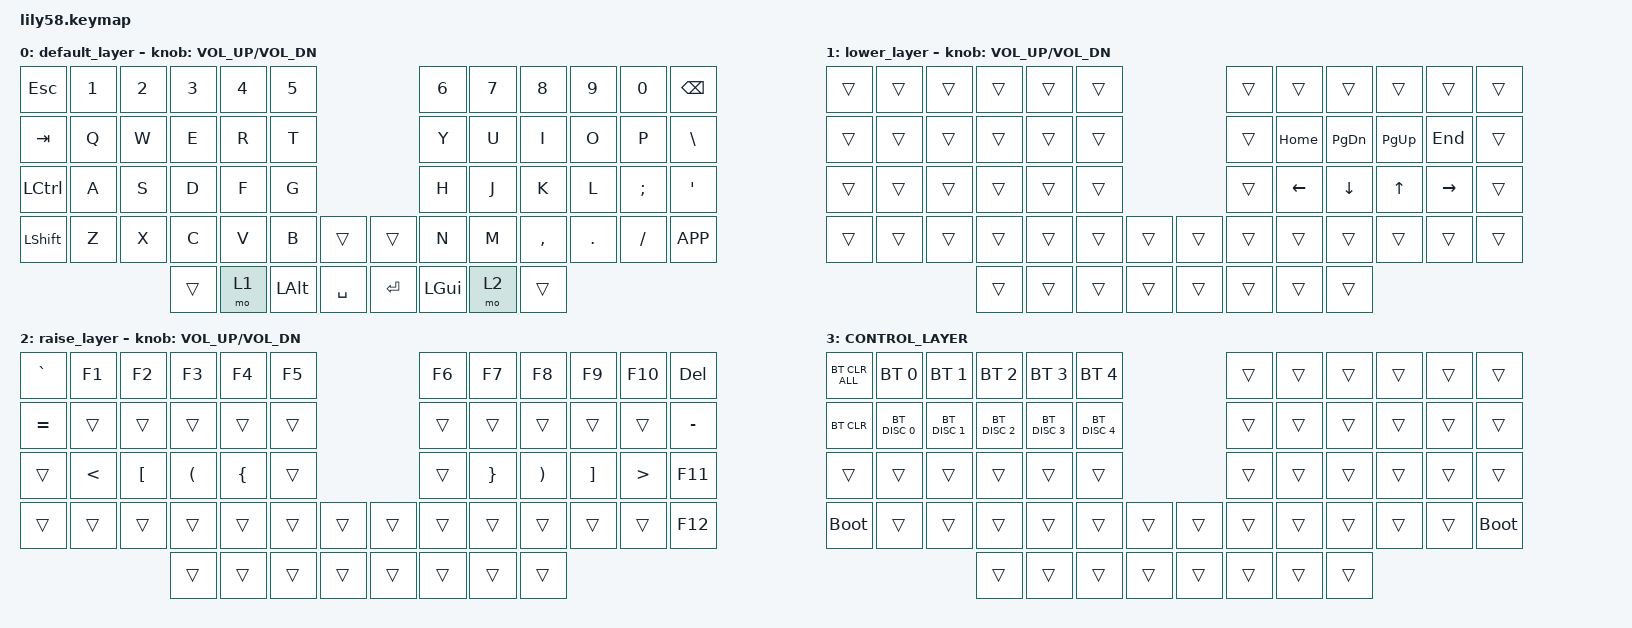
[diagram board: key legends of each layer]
/*
 * Copyright (c) 2020 The ZMK Contributors
 *
 * SPDX-License-Identifier: MIT
 */

#include <behaviors.dtsi>
#include <dt-bindings/zmk/bt.h>
#include <dt-bindings/zmk/keys.h>

/ {
    combos {
        compatible = "zmk,combos";

        GOTO_CONTROL_LAYER {
            bindings = <&mo 3>;
            key-positions = <51 56>;
            layers = <0>;
        };
    };

    keymap {
        compatible = "zmk,keymap";

        default_layer {
            bindings = <
&kp ESC    &kp N1  &kp N2  &kp N3  &kp N4  &kp N5                          &kp N6    &kp N7  &kp N8     &kp N9   &kp N0    &kp BSPC
&kp TAB    &kp Q   &kp W   &kp E   &kp R   &kp T                           &kp Y     &kp U   &kp I      &kp O    &kp P     &kp BACKSLASH
&kp LCTRL  &kp A   &kp S   &kp D   &kp F   &kp G                           &kp H     &kp J   &kp K      &kp L    &kp SEMI  &kp SQT
&kp LSHFT  &kp Z   &kp X   &kp C   &kp V   &kp B     &trans       &trans   &kp N     &kp M   &kp COMMA  &kp DOT  &kp FSLH  &kp K_APP
                           &trans  &mo 1   &kp LALT  &kp SPACE    &kp RET  &kp LGUI  &mo 2   &trans
            >;

            sensor-bindings = <&inc_dec_kp C_VOL_UP C_VOL_DN>;
        };

        lower_layer {
            bindings = <
&trans  &trans  &trans  &trans  &trans  &trans                    &trans  &trans    &trans     &trans     &trans     &trans
&trans  &trans  &trans  &trans  &trans  &trans                    &trans  &kp HOME  &kp PG_DN  &kp PG_UP  &kp END    &trans
&trans  &trans  &trans  &trans  &trans  &trans                    &trans  &kp LEFT  &kp DOWN   &kp UP     &kp RIGHT  &trans
&trans  &trans  &trans  &trans  &trans  &trans  &trans    &trans  &trans  &trans    &trans     &trans     &trans     &trans
                        &trans  &trans  &trans  &trans    &trans  &trans  &trans    &trans
            >;

            sensor-bindings = <&inc_dec_kp C_VOL_UP C_VOL_DN>;
        };

        raise_layer {
            bindings = <
&kp GRAVE  &kp F1  &kp F2  &kp F3  &kp F4  &kp F5                          &kp F6  &kp F7    &kp F8    &kp F9    &kp F10 &kp DEL
&kp EQUAL  &trans  &trans    &trans    &trans    &trans                    &trans  &trans    &trans    &trans    &trans  &kp MINUS
&trans     &kp LT  &kp LBKT  &kp LPAR  &kp LBRC  &trans                    &trans  &kp RBRC  &kp RPAR  &kp RBKT  &kp GT  &kp F11
&trans     &trans  &trans    &trans    &trans    &trans  &trans    &trans  &trans  &trans    &trans    &trans    &trans  &kp F12
                             &trans    &trans    &trans  &trans    &trans  &trans  &trans    &trans
            >;

            sensor-bindings = <&inc_dec_kp C_VOL_UP C_VOL_DN>;
        };

        CONTROL_LAYER {
            bindings = <
&bt BT_CLR_ALL  &bt BT_SEL 0    &bt BT_SEL 1    &bt BT_SEL 2    &bt BT_SEL 3    &bt BT_SEL 4                        &trans  &trans  &trans  &trans  &trans  &trans
&bt BT_CLR      &bt BT_DISC 0   &bt BT_DISC 1   &bt BT_DISC 2   &bt BT_DISC 3   &bt BT_DISC 4                       &trans  &trans  &trans  &trans  &trans  &trans
&trans          &trans          &trans          &trans          &trans          &trans                              &trans  &trans  &trans  &trans  &trans  &trans
&bootloader     &trans          &trans          &trans          &trans          &trans          &trans    &trans    &trans  &trans  &trans  &trans  &trans  &bootloader
                                &trans          &trans          &trans          &trans          &trans    &trans    &trans  &trans
            >;
        };
    };
};
